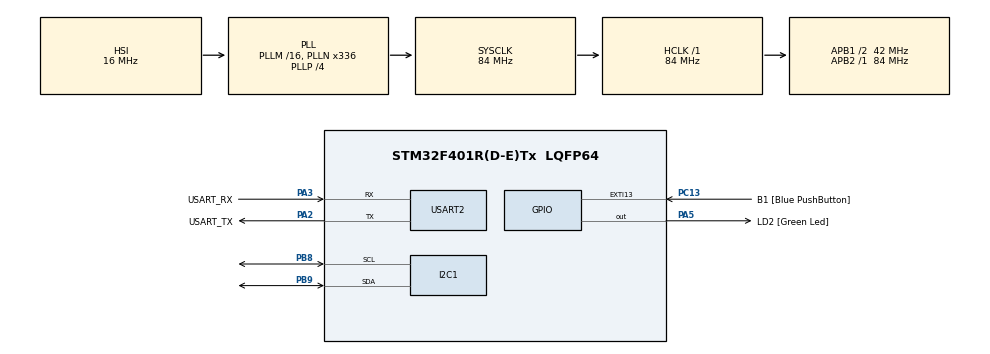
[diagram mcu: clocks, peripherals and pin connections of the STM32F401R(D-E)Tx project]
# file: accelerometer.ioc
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Dma.I2C1_RX.1.Direction=DMA_PERIPH_TO_MEMORY
Dma.I2C1_RX.1.FIFOMode=DMA_FIFOMODE_DISABLE
Dma.I2C1_RX.1.Instance=DMA1_Stream0
Dma.I2C1_RX.1.MemDataAlignment=DMA_MDATAALIGN_BYTE
Dma.I2C1_RX.1.MemInc=DMA_MINC_ENABLE
Dma.I2C1_RX.1.Mode=DMA_NORMAL
Dma.I2C1_RX.1.PeriphDataAlignment=DMA_PDATAALIGN_BYTE
Dma.I2C1_RX.1.PeriphInc=DMA_PINC_DISABLE
Dma.I2C1_RX.1.Priority=DMA_PRIORITY_LOW
Dma.Request0=USART2_TX
Dma.Request1=I2C1_RX
Dma.USART2_TX.0.Direction=DMA_MEMORY_TO_PERIPH
Dma.USART2_TX.0.FIFOMode=DMA_FIFOMODE_DISABLE
Dma.USART2_TX.0.Instance=DMA1_Stream6
Dma.USART2_TX.0.MemDataAlignment=DMA_MDATAALIGN_BYTE
Dma.USART2_TX.0.MemInc=DMA_MINC_ENABLE
Dma.USART2_TX.0.Mode=DMA_NORMAL
Dma.USART2_TX.0.PeriphDataAlignment=DMA_PDATAALIGN_BYTE
Dma.USART2_TX.0.PeriphInc=DMA_PINC_DISABLE
Dma.USART2_TX.0.Priority=DMA_PRIORITY_LOW
Mcu.Family=STM32F4
Mcu.Name=STM32F401R(D-E)Tx
Mcu.Package=LQFP64
NVIC.DMA1_Stream0_IRQn=true\:0\:0\:false\:false\:true\:false\:true\:true
NVIC.DMA1_Stream6_IRQn=true\:0\:0\:false\:false\:true\:false\:true\:true
NVIC.I2C1_ER_IRQn=true\:0\:0\:false\:false\:true\:true\:true\:true
NVIC.I2C1_EV_IRQn=true\:0\:0\:false\:false\:true\:true\:true\:true
NVIC.PriorityGroup=NVIC_PRIORITYGROUP_0
NVIC.TIM2_IRQn=true\:0\:0\:false\:false\:true\:true\:true\:true
NVIC.USART2_IRQn=true\:0\:0\:false\:false\:true\:true\:true\:true
PA13.GPIO_Label=TMS
PA13.Mode=Serial_Wire
PA13.Signal=SYS_JTMS-SWDIO
PA14.GPIO_Label=TCK
PA14.Mode=Serial_Wire
PA14.Signal=SYS_JTCK-SWCLK
PA2.GPIO_Label=USART_TX
PA2.GPIO_Mode=GPIO_MODE_AF_PP
PA2.GPIO_PuPd=GPIO_NOPULL
PA2.GPIO_Speed=GPIO_SPEED_FREQ_LOW
PA2.Mode=Asynchronous
PA2.Signal=USART2_TX
PA3.GPIO_Label=USART_RX
PA3.GPIO_Mode=GPIO_MODE_AF_PP
PA3.GPIO_PuPd=GPIO_NOPULL
PA3.GPIO_Speed=GPIO_SPEED_FREQ_LOW
PA3.Mode=Asynchronous
PA3.Signal=USART2_RX
PA5.GPIO_Label=LD2 [Green Led]
PA5.GPIO_Mode=GPIO_MODE_OUTPUT_PP
PA5.GPIO_PuPd=GPIO_NOPULL
PA5.GPIO_Speed=GPIO_SPEED_FREQ_LOW
PA5.Signal=GPIO_Output
PB3.GPIO_Label=SWO
PB3.Signal=SYS_JTDO-SWO
PB8.Mode=I2C
PB8.Signal=I2C1_SCL
PB9.Mode=I2C
PB9.Signal=I2C1_SDA
PC13-ANTI_TAMP.GPIO_Label=B1 [Blue PushButton]
PC13-ANTI_TAMP.GPIO_ModeDefaultEXTI=GPIO_MODE_IT_FALLING
PC13-ANTI_TAMP.GPIO_PuPd=GPIO_NOPULL
PC13-ANTI_TAMP.Signal=GPXTI13
PC14-OSC32_IN.Mode=LSE-External-Oscillator
PC14-OSC32_IN.Signal=RCC_OSC32_IN
PC15-OSC32_OUT.Mode=LSE-External-Oscillator
PC15-OSC32_OUT.Signal=RCC_OSC32_OUT
PH0\ -\ OSC_IN.Mode=HSE-External-Clock-Source
PH0\ -\ OSC_IN.Signal=RCC_OSC_IN
PH1\ -\ OSC_OUT.Mode=HSE-External-Clock-Source
PH1\ -\ OSC_OUT.Signal=RCC_OSC_OUT
ProjectManager.HeapSize=0x200
ProjectManager.StackSize=0x400
ProjectManager.TargetToolchain=STM32CubeIDE
RCC.48MHZClocksFreq_Value=48000000
RCC.AHBFreq_Value=84000000
RCC.APB1CLKDivider=RCC_HCLK_DIV2
RCC.APB1Freq_Value=42000000
RCC.APB1TimFreq_Value=84000000
RCC.APB2Freq_Value=84000000
RCC.APB2TimFreq_Value=84000000
RCC.CortexFreq_Value=84000000
RCC.HCLKFreq_Value=84000000
RCC.HSE_VALUE=8000000
RCC.HSI_VALUE=16000000
RCC.PLLN=336
RCC.PLLP=RCC_PLLP_DIV4
RCC.PLLQ=7
RCC.SYSCLKFreq_VALUE=84000000
RCC.SYSCLKSource=RCC_SYSCLKSOURCE_PLLCLK
RCC.VCOOutputFreq_Value=336000000
TIM2.AutoReloadPreload=TIM_AUTORELOAD_PRELOAD_ENABLE
TIM2.Period=1000000-1
TIM2.Prescaler=84-1
TIM2.TIM_MasterOutputTrigger=TIM_TRGO_RESET
USART2.VirtualMode=VM_ASYNC
VP_TIM2_VS_ClockSourceINT.Mode=Internal
board=NUCLEO-F401RE

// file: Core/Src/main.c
/* USER CODE BEGIN Header */
/**
  ******************************************************************************
  * @file           : main.c
  * @brief          : Main program body
  ******************************************************************************
  * @attention
  *
  * Copyright (c) 2022 STMicroelectronics.
  * All rights reserved.
  *
  * This software is licensed under terms that can be found in the LICENSE file
  * in the root directory of this software component.
  * If no LICENSE file comes with this software, it is provided AS-IS.
  *
  ******************************************************************************
  */
/* USER CODE END Header */
#include "main.h"

/* USER CODE BEGIN Includes */
#include <string.h>
#include <stdio.h>
/* USER CODE END Includes */

I2C_HandleTypeDef hi2c1;
DMA_HandleTypeDef hdma_i2c1_rx;

TIM_HandleTypeDef htim2;

UART_HandleTypeDef huart2;
DMA_HandleTypeDef hdma_usart2_tx;

/* USER CODE BEGIN PV */
uint8_t LIS2DE_ADD   = 0b01010000;
uint8_t LIS2DE12_ADD = 0b00110000;
uint8_t address;

uint8_t CTRL_REG1[2] = {0X20, 0b00010111};
uint8_t CTRL_REG2[2] = {0X21, 0b00000000};
uint8_t CTRL_REG3[2] = {0X22, 0b00000000};
uint8_t CTRL_REG4[2] = {0X23, 0b00000000};

uint8_t OUT_X = 0x29;
uint8_t OUT_Y = 0x2B;
uint8_t OUT_Z = 0x2D;

int8_t outputs[5];
/* USER CODE END PV */

void SystemClock_Config(void);
static void MX_GPIO_Init(void);
static void MX_DMA_Init(void);
static void MX_USART2_UART_Init(void);
static void MX_I2C1_Init(void);
static void MX_TIM2_Init(void);

int main(void)
{

  /* MCU Configuration--------------------------------------------------------*/

  /* Reset of all peripherals, Initializes the Flash interface and the Systick. */
  HAL_Init();

  /* Configure the system clock */
  SystemClock_Config();

  /* Initialize all configured peripherals */
  MX_GPIO_Init();
  MX_DMA_Init();
  MX_USART2_UART_Init();
  MX_I2C1_Init();
  MX_TIM2_Init();
  /* USER CODE BEGIN 2 */
  char string[32];
  int length;
  if(HAL_I2C_Master_Transmit(&hi2c1, LIS2DE_ADD, CTRL_REG1, 2, 10) == HAL_OK){
	  length = snprintf(string, 32, "LIS2DE\r\n");
	  address = LIS2DE_ADD;
  }else if(HAL_I2C_Master_Transmit(&hi2c1, LIS2DE12_ADD, CTRL_REG1, 2, 10) == HAL_OK){
	  length = snprintf(string, 32, "LIS2DE12\r\n");
	  address = LIS2DE12_ADD;
  }else{
	  length = snprintf(string, 32, "error\r\n");
	  HAL_UART_Transmit_DMA(&huart2, (unsigned char *)string, length);
	  return 0;
  }

  HAL_UART_Transmit_DMA(&huart2, (unsigned char *)string, length);
  HAL_I2C_Master_Transmit(&hi2c1, address, CTRL_REG2, 2, 10);
  HAL_I2C_Master_Transmit(&hi2c1, address, CTRL_REG3, 2, 10);
  HAL_I2C_Master_Transmit(&hi2c1, address, CTRL_REG4, 2, 10);
  HAL_TIM_Base_Start_IT(&htim2);
  /* USER CODE END 2 */

  /* Infinite loop */
  while (1)
  {

  }
}

void SystemClock_Config(void)
{
  RCC_OscInitTypeDef RCC_OscInitStruct = {0};
  RCC_ClkInitTypeDef RCC_ClkInitStruct = {0};

  /** Configure the main internal regulator output voltage
  */
  __HAL_RCC_PWR_CLK_ENABLE();
  __HAL_PWR_VOLTAGESCALING_CONFIG(PWR_REGULATOR_VOLTAGE_SCALE2);

  /** Initializes the RCC Oscillators according to the specified parameters
  * in the RCC_OscInitTypeDef structure.
  */
  RCC_OscInitStruct.OscillatorType = RCC_OSCILLATORTYPE_HSI;
  RCC_OscInitStruct.HSIState = RCC_HSI_ON;
  RCC_OscInitStruct.HSICalibrationValue = RCC_HSICALIBRATION_DEFAULT;
  RCC_OscInitStruct.PLL.PLLState = RCC_PLL_ON;
  RCC_OscInitStruct.PLL.PLLSource = RCC_PLLSOURCE_HSI;
  RCC_OscInitStruct.PLL.PLLM = 16;
  RCC_OscInitStruct.PLL.PLLN = 336;
  RCC_OscInitStruct.PLL.PLLP = RCC_PLLP_DIV4;
  RCC_OscInitStruct.PLL.PLLQ = 7;
  if (HAL_RCC_OscConfig(&RCC_OscInitStruct) != HAL_OK)
  {
    Error_Handler();
  }

  /** Initializes the CPU, AHB and APB buses clocks
  */
  RCC_ClkInitStruct.ClockType = RCC_CLOCKTYPE_HCLK|RCC_CLOCKTYPE_SYSCLK
                              |RCC_CLOCKTYPE_PCLK1|RCC_CLOCKTYPE_PCLK2;
  RCC_ClkInitStruct.SYSCLKSource = RCC_SYSCLKSOURCE_PLLCLK;
  RCC_ClkInitStruct.AHBCLKDivider = RCC_SYSCLK_DIV1;
  RCC_ClkInitStruct.APB1CLKDivider = RCC_HCLK_DIV2;
  RCC_ClkInitStruct.APB2CLKDivider = RCC_HCLK_DIV1;

  if (HAL_RCC_ClockConfig(&RCC_ClkInitStruct, FLASH_LATENCY_2) != HAL_OK)
  {
    Error_Handler();
  }
}

static void MX_I2C1_Init(void)
{

  hi2c1.Instance = I2C1;
  hi2c1.Init.ClockSpeed = 100000;
  hi2c1.Init.DutyCycle = I2C_DUTYCYCLE_2;
  hi2c1.Init.OwnAddress1 = 0;
  hi2c1.Init.AddressingMode = I2C_ADDRESSINGMODE_7BIT;
  hi2c1.Init.DualAddressMode = I2C_DUALADDRESS_DISABLE;
  hi2c1.Init.OwnAddress2 = 0;
  hi2c1.Init.GeneralCallMode = I2C_GENERALCALL_DISABLE;
  hi2c1.Init.NoStretchMode = I2C_NOSTRETCH_DISABLE;
  if (HAL_I2C_Init(&hi2c1) != HAL_OK)
  {
    Error_Handler();
  }

}

static void MX_TIM2_Init(void)
{

  TIM_ClockConfigTypeDef sClockSourceConfig = {0};
  TIM_MasterConfigTypeDef sMasterConfig = {0};

  htim2.Instance = TIM2;
  htim2.Init.Prescaler = 84-1;
  htim2.Init.CounterMode = TIM_COUNTERMODE_UP;
  htim2.Init.Period = 1000000-1;
  htim2.Init.ClockDivision = TIM_CLOCKDIVISION_DIV1;
  htim2.Init.AutoReloadPreload = TIM_AUTORELOAD_PRELOAD_ENABLE;
  if (HAL_TIM_Base_Init(&htim2) != HAL_OK)
  {
    Error_Handler();
  }
  sClockSourceConfig.ClockSource = TIM_CLOCKSOURCE_INTERNAL;
  if (HAL_TIM_ConfigClockSource(&htim2, &sClockSourceConfig) != HAL_OK)
  {
    Error_Handler();
  }
  sMasterConfig.MasterOutputTrigger = TIM_TRGO_RESET;
  sMasterConfig.MasterSlaveMode = TIM_MASTERSLAVEMODE_DISABLE;
  if (HAL_TIMEx_MasterConfigSynchronization(&htim2, &sMasterConfig) != HAL_OK)
  {
    Error_Handler();
  }

}

static void MX_USART2_UART_Init(void)
{

  huart2.Instance = USART2;
  huart2.Init.BaudRate = 115200;
  huart2.Init.WordLength = UART_WORDLENGTH_8B;
  huart2.Init.StopBits = UART_STOPBITS_1;
  huart2.Init.Parity = UART_PARITY_NONE;
  huart2.Init.Mode = UART_MODE_TX_RX;
  huart2.Init.HwFlowCtl = UART_HWCONTROL_NONE;
  huart2.Init.OverSampling = UART_OVERSAMPLING_16;
  if (HAL_UART_Init(&huart2) != HAL_OK)
  {
    Error_Handler();
  }

}

static void MX_DMA_Init(void)
{

  /* DMA controller clock enable */
  __HAL_RCC_DMA1_CLK_ENABLE();

  /* DMA interrupt init */
  /* DMA1_Stream0_IRQn interrupt configuration */
  HAL_NVIC_SetPriority(DMA1_Stream0_IRQn, 0, 0);
  HAL_NVIC_EnableIRQ(DMA1_Stream0_IRQn);
  /* DMA1_Stream6_IRQn interrupt configuration */
  HAL_NVIC_SetPriority(DMA1_Stream6_IRQn, 0, 0);
  HAL_NVIC_EnableIRQ(DMA1_Stream6_IRQn);

}

static void MX_GPIO_Init(void)
{
  GPIO_InitTypeDef GPIO_InitStruct = {0};

  /* GPIO Ports Clock Enable */
  __HAL_RCC_GPIOC_CLK_ENABLE();
  __HAL_RCC_GPIOH_CLK_ENABLE();
  __HAL_RCC_GPIOA_CLK_ENABLE();
  __HAL_RCC_GPIOB_CLK_ENABLE();

  /*Configure GPIO pin Output Level */
  HAL_GPIO_WritePin(LD2_GPIO_Port, LD2_Pin, GPIO_PIN_RESET);

  /*Configure GPIO pin : B1_Pin */
  GPIO_InitStruct.Pin = B1_Pin;
  GPIO_InitStruct.Mode = GPIO_MODE_IT_FALLING;
  GPIO_InitStruct.Pull = GPIO_NOPULL;
  HAL_GPIO_Init(B1_GPIO_Port, &GPIO_InitStruct);

  /*Configure GPIO pin : LD2_Pin */
  GPIO_InitStruct.Pin = LD2_Pin;
  GPIO_InitStruct.Mode = GPIO_MODE_OUTPUT_PP;
  GPIO_InitStruct.Pull = GPIO_NOPULL;
  GPIO_InitStruct.Speed = GPIO_SPEED_FREQ_LOW;
  HAL_GPIO_Init(LD2_GPIO_Port, &GPIO_InitStruct);

}

/* USER CODE BEGIN 4 */
void HAL_TIM_PeriodElapsedCallback(TIM_HandleTypeDef *htim){
	HAL_I2C_Master_Transmit(&hi2c1, address, &OUT_X, 1, 50);
	HAL_I2C_Master_Receive_DMA(&hi2c1, address+1, outputs, 5);
}

void HAL_I2C_MasterRxCpltCallback(I2C_HandleTypeDef *hi2c){
	float x = outputs[0]/64.0;
	float y = outputs[2]/64.0;
	float z = outputs[4]/64.0;

	char string[64];
	int length;
	length = snprintf(string, 64, "x = %+.3f g y = %+.3f g z = %+.3f g\r\n", x, y, z);

	HAL_UART_Transmit_DMA(&huart2, (unsigned char *)string, length);
}
/* USER CODE END 4 */

void Error_Handler(void)
{
  __disable_irq();
  while (1)
  {
  }
}
